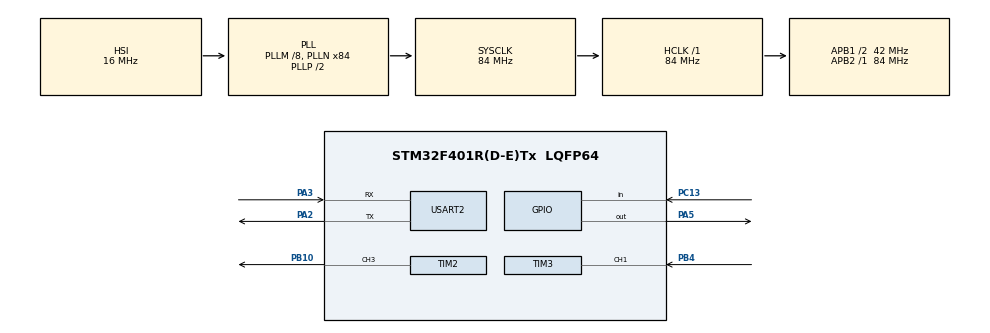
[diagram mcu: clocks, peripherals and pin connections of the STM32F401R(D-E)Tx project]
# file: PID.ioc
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Mcu.Family=STM32F4
Mcu.Name=STM32F401R(D-E)Tx
Mcu.Package=LQFP64
NVIC.PriorityGroup=NVIC_PRIORITYGROUP_4
NVIC.TIM4_IRQn=true\:0\:0\:false\:false\:true\:true\:true
NVIC.USART2_IRQn=true\:0\:0\:false\:false\:true\:true\:true
PA2.Mode=Asynchronous
PA2.Signal=USART2_TX
PA3.Mode=Asynchronous
PA3.Signal=USART2_RX
PA5.Signal=GPIO_Output
PB10.Signal=S_TIM2_CH3
PB4.Signal=S_TIM3_CH1
PC13-ANTI_TAMP.Signal=GPIO_Input
PH0\ -\ OSC_IN.Mode=HSE-External-Clock-Source
PH0\ -\ OSC_IN.Signal=RCC_OSC_IN
PH1\ -\ OSC_OUT.Mode=HSE-External-Clock-Source
PH1\ -\ OSC_OUT.Signal=RCC_OSC_OUT
ProjectManager.HeapSize=0x200
ProjectManager.StackSize=0x400
ProjectManager.TargetToolchain=STM32CubeIDE
RCC.48MHZClocksFreq_Value=42000000
RCC.AHBFreq_Value=84000000
RCC.APB1CLKDivider=RCC_HCLK_DIV2
RCC.APB1Freq_Value=42000000
RCC.APB1TimFreq_Value=84000000
RCC.APB2Freq_Value=84000000
RCC.APB2TimFreq_Value=84000000
RCC.CortexFreq_Value=84000000
RCC.HCLKFreq_Value=84000000
RCC.HSE_VALUE=8000000
RCC.HSI_VALUE=16000000
RCC.LSE_VALUE=32768
RCC.PLLM=8
RCC.PLLN=84
RCC.SYSCLKFreq_VALUE=84000000
RCC.SYSCLKSource=RCC_SYSCLKSOURCE_PLLCLK
RCC.VCOOutputFreq_Value=168000000
SH.S_TIM2_CH3.0=TIM2_CH3,PWM Generation3 CH3
SH.S_TIM3_CH1.0=TIM3_CH1,TriggerSource_TI1FP1
TIM2.Channel-PWM\ Generation3\ CH3=TIM_CHANNEL_3
TIM2.Period=525
TIM2.Prescaler=4-1
TIM4.Period=10000
TIM4.Prescaler=84-1
USART2.OverSampling=UART_OVERSAMPLING_16
USART2.VirtualMode=VM_ASYNC
VP_TIM3_VS_ControllerModeClock.Mode=Clock Mode
VP_TIM4_VS_ClockSourceINT.Mode=Internal
board=custom

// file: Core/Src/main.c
/* USER CODE BEGIN Header */
/**
  ******************************************************************************
  * @file           : main.c
  * @brief          : Main program body
  ******************************************************************************
  * @attention
  *
  * <h2><center>&copy; Copyright (c) 2022 STMicroelectronics.
  * All rights reserved.</center></h2>
  *
  * This software component is licensed by ST under BSD 3-Clause license,
  * the "License"; You may not use this file except in compliance with the
  * License. You may obtain a copy of the License at:
  *                        opensource.org/licenses/BSD-3-Clause
  *
  ******************************************************************************
  */
/* USER CODE END Header */
#include "main.h"
#include "tim.h"
#include "usart.h"
#include "gpio.h"

/* USER CODE BEGIN Includes */
#include "PID.h"
#include <stdio.h>
#include <stdlib.h>
#include <string.h>
/* USER CODE END Includes */

/* USER CODE BEGIN PTD */
/*esta estructuca contiene las variables presentes y pasadas del controlador*/

/* USER CODE END PTD */

/* USER CODE BEGIN PM */
#define S					120				//cantidad de pulsos por vuelta
#define Ts					10E-3			//tiempo de muestreo
#define KP		0.0121
#define KI		0.39
#define KD  	8.95E-4
#define UMIN 	0
#define UMAX	8.4
/* USER CODE END PM */

/* USER CODE BEGIN PV */
float 	rpm;								//RPM
float 	radS;									//velocidad en rad/s
uint32_t pulse;								//pulsos del encoder
float ref = 0;
uint16_t U;

PID_Def_t MotorDC;

char bufferRx[100];
uint8_t byte;
uint8_t i;
uint8_t bufferTx[100];
/* USER CODE END PV */

void SystemClock_Config(void);

int main(void)
{

  /* MCU Configuration--------------------------------------------------------*/

  /* Reset of all peripherals, Initializes the Flash interface and the Systick. */
  HAL_Init();

  /* Configure the system clock */
  SystemClock_Config();

  /* Initialize all configured peripherals */
  MX_GPIO_Init();
  MX_TIM2_Init();
  MX_TIM3_Init();
  MX_TIM4_Init();
  MX_USART2_UART_Init();
  /* USER CODE BEGIN 2 */
  PID_Init(&MotorDC, KP, KI, KD, Ts, UMIN, UMAX);

  HAL_TIM_Base_Start(&htim3);			//para leer los pulsos del encoder
  HAL_TIM_Base_Start_IT(&htim4);		//nos da el tiempo de muestreo
  HAL_TIM_PWM_Start(&htim2, TIM_CHANNEL_3);	//inicializa el pwm
  __HAL_TIM_SET_COMPARE(&htim2,TIM_CHANNEL_3,0);//establece el valor del duty cycle

  HAL_UART_Receive_IT(&huart2,&byte,1);	//recibir datos desde labview
  /* USER CODE END 2 */

  /* Infinite loop */
  while (1)
  {

  }
}

void SystemClock_Config(void)
{
  RCC_OscInitTypeDef RCC_OscInitStruct = {0};
  RCC_ClkInitTypeDef RCC_ClkInitStruct = {0};

  /** Configure the main internal regulator output voltage
  */
  __HAL_RCC_PWR_CLK_ENABLE();
  __HAL_PWR_VOLTAGESCALING_CONFIG(PWR_REGULATOR_VOLTAGE_SCALE2);
  /** Initializes the RCC Oscillators according to the specified parameters
  * in the RCC_OscInitTypeDef structure.
  */
  RCC_OscInitStruct.OscillatorType = RCC_OSCILLATORTYPE_HSI;
  RCC_OscInitStruct.HSIState = RCC_HSI_ON;
  RCC_OscInitStruct.HSICalibrationValue = RCC_HSICALIBRATION_DEFAULT;
  RCC_OscInitStruct.PLL.PLLState = RCC_PLL_ON;
  RCC_OscInitStruct.PLL.PLLSource = RCC_PLLSOURCE_HSI;
  RCC_OscInitStruct.PLL.PLLM = 8;
  RCC_OscInitStruct.PLL.PLLN = 84;
  RCC_OscInitStruct.PLL.PLLP = RCC_PLLP_DIV2;
  RCC_OscInitStruct.PLL.PLLQ = 4;
  if (HAL_RCC_OscConfig(&RCC_OscInitStruct) != HAL_OK)
  {
    Error_Handler();
  }
  /** Initializes the CPU, AHB and APB buses clocks
  */
  RCC_ClkInitStruct.ClockType = RCC_CLOCKTYPE_HCLK|RCC_CLOCKTYPE_SYSCLK
                              |RCC_CLOCKTYPE_PCLK1|RCC_CLOCKTYPE_PCLK2;
  RCC_ClkInitStruct.SYSCLKSource = RCC_SYSCLKSOURCE_PLLCLK;
  RCC_ClkInitStruct.AHBCLKDivider = RCC_SYSCLK_DIV1;
  RCC_ClkInitStruct.APB1CLKDivider = RCC_HCLK_DIV2;
  RCC_ClkInitStruct.APB2CLKDivider = RCC_HCLK_DIV1;

  if (HAL_RCC_ClockConfig(&RCC_ClkInitStruct, FLASH_LATENCY_2) != HAL_OK)
  {
    Error_Handler();
  }
}

/* USER CODE BEGIN 4 */
void HAL_TIM_PeriodElapsedCallback(TIM_HandleTypeDef *htim)
{
	if(htim == &htim4){
		pulse = __HAL_TIM_GET_COUNTER(&htim3);
		__HAL_TIM_SET_COUNTER(&htim3,0);
		/****************************************************/
		rpm = pulse * 60.0 /(Ts * S);				//se calcula el RPM
		radS = rpm  *(2*3.141592)/60;				//velocidad en Rad/s
		/****************************************************************/
		U = (uint16_t)(PID_Compute(&MotorDC, ref, radS)*524.0/8.4);
		__HAL_TIM_SET_COMPARE(&htim2,TIM_CHANNEL_3,U);
		sprintf((char*)bufferTx,"%.2f\r\n",radS);
		HAL_UART_Transmit(&huart2, bufferTx, strlen((char*)bufferTx), 5);
	}
}

void HAL_UART_RxCpltCallback(UART_HandleTypeDef *huart)
{
	if(byte == 'x'){
		HAL_GPIO_TogglePin(GPIOB,GPIO_PIN_3);
		ref = atof(bufferRx);
		memset(bufferRx,0,i);
		i = 0;
	}else{
		bufferRx[i] = byte;
		i++;
	}

	HAL_UART_Receive_IT(&huart2,&byte,1);

}
/* USER CODE END 4 */

void Error_Handler(void)
{
  __disable_irq();
  while (1)
  {
  }
}

/************************ (C) COPYRIGHT STMicroelectronics *****END OF FILE****/
